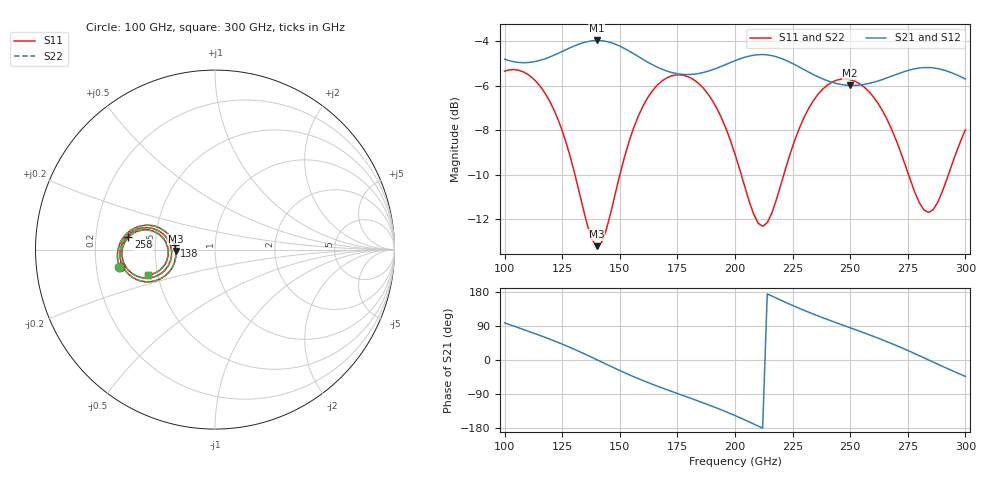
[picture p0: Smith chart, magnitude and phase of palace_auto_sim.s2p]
#  GHZ S DB R 50
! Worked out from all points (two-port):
!   101 points, 100 GHz to 300 GHz, reference 50 ohm
!   highest |S21| = -3.96 dB at 140 GHz (marker M1); lowest = -6.0 dB at 250 GHz (marker M2)
!   |S21| within 3 dB of the highest: start of sweep to end of sweep
!   lowest |S11| = -13.2 dB at 140 GHz (marker M3), VSWR 1.56, Z = 32.1 - j0.55 ohm
!   |S11| at or under -10 dB: 130.5 GHz to 150 GHz (19.51 GHz wide, 13.9 % of centre); 202.7 GHz to 221.2 GHz (18.46 GHz wide, 8.71 % of centre); 275.3 GHz to 292.6 GHz (17.3 GHz wide, 6.09 % of centre)
!   |S22| runs from -13.2 to -5.3 dB; largest |S21 - S12| = 1e-13
!   S11 on the Smith chart (normalised r, x): 100 GHz: 0.30, -0.08; 138 GHz: 0.63, +0.03; 258 GHz: 0.35, +0.06; 300 GHz: 0.44, -0.15
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100  -5.34 -169.6  -4.80 98.1  -4.80 98.1  -5.33 -169.6
110  -5.48 176.7  -4.95 76.5  -4.95 76.5  -5.47 176.7
120  -6.78 164.4  -4.69 54.1  -4.69 54.1  -6.77 164.4
134  -11.49 162.8  -4.06 18.0  -4.06 18.0  -11.48 162.8
138  -12.93 174.0  -3.97 6.6  -3.97 6.6  -12.92 174.1
140  -13.22 -177.9  -3.96 0.8  -3.96 0.8  -13.20 -177.9
146  -11.74 -157.1  -4.05 -16.5  -4.05 -16.5  -11.73 -157.1
154  -8.51 -152.4  -4.43 -38.7  -4.43 -38.7  -8.51 -152.4
168  -5.81 -166.7  -5.24 -72.9  -5.24 -72.9  -5.80 -166.7
182  -5.72 176.0  -5.48 -103.8  -5.48 -103.8  -5.72 176.0
192  -6.99 165.2  -5.21 -126.6  -5.21 -126.6  -6.99 165.2
200  -9.07 161.2  -4.87 -146.7  -4.87 -146.7  -9.08 161.2
212  -12.33 -177.0  -4.59 -179.8  -4.59 -179.8  -12.35 -176.9
224  -9.04 -155.7  -4.94 146.6  -4.94 146.6  -9.05 -155.5
234  -6.67 -161.8  -5.49 121.3  -5.49 121.3  -6.67 -161.6
250  -5.72 -179.6  -5.98 85.0  -5.98 85.0  -5.72 -179.4
258  -6.25 171.7  -5.90 67.1  -5.90 67.1  -6.24 171.9
268  -7.96 163.9  -5.56 43.3  -5.56 43.3  -7.94 164.2
276  -10.20 165.8  -5.28 22.4  -5.28 22.4  -10.16 166.0
284  -11.70 -177.5  -5.18 0.2  -5.18 0.2  -11.64 -177.4
292  -10.19 -160.9  -5.33 -22.1  -5.33 -22.1  -10.14 -161.0
300  -7.98 -159.3  -5.69 -43.3  -5.69 -43.3  -7.95 -159.4
